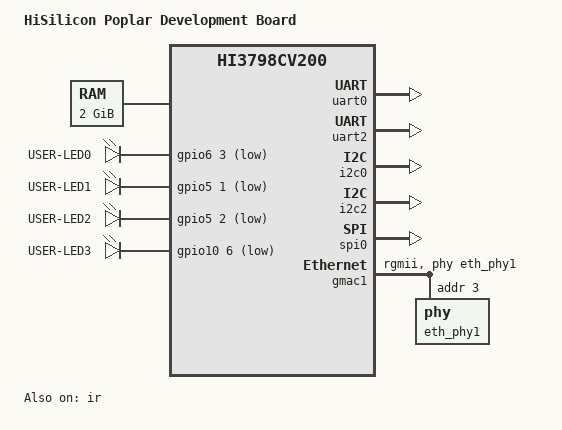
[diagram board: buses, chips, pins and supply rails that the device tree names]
/*
 * DTS File for HiSilicon Poplar Development Board
 *
 * Copyright (c) 2016-2017 HiSilicon Technologies Co., Ltd.
 *
 * This program is free software; you can redistribute it and/or modify
 * it under the terms of the GNU General Public License as published by
 * the Free Software Foundation; either version 2 of the License, or
 * (at your option) any later version.
 *
 * This program is distributed in the hope that it will be useful,
 * but WITHOUT ANY WARRANTY; without even the implied warranty of
 * MERCHANTABILITY or FITNESS FOR A PARTICULAR PURPOSE.  See the
 * GNU General Public License for more details.
 *
 * You should have received a copy of the GNU General Public License
 * along with this program. If not, see <http://www.gnu.org/licenses/>.
 */

/dts-v1/;

#include <dt-bindings/gpio/gpio.h>
#include "hi3798cv200.dtsi"

/ {
	model = "HiSilicon Poplar Development Board";
	compatible = "hisilicon,hi3798cv200-poplar", "hisilicon,hi3798cv200";

	aliases {
		serial0 = &uart0;
	};

	chosen {
		stdout-path = "serial0:115200n8";
	};

	memory@0 {
		device_type = "memory";
		reg = <0x0 0x0 0x0 0x80000000>;
	};

	leds {
		compatible = "gpio-leds";

		user-led0 {
			label = "USER-LED0";
			gpios = <&gpio6 3 GPIO_ACTIVE_LOW>;
			linux,default-trigger = "heartbeat";
			default-state = "off";
		};

		user-led1 {
			label = "USER-LED1";
			gpios = <&gpio5 1 GPIO_ACTIVE_LOW>;
			linux,default-trigger = "mmc0";
			default-state = "off";
		};

		user-led2 {
			label = "USER-LED2";
			gpios = <&gpio5 2 GPIO_ACTIVE_LOW>;
			linux,default-trigger = "none";
			default-state = "off";
		};

		user-led3 {
			label = "USER-LED3";
			gpios = <&gpio10 6 GPIO_ACTIVE_LOW>;
			linux,default-trigger = "cpu0";
			default-state = "off";
		};
	};
};

&uart0 {
	status = "okay";
};

&uart2 {
	status = "okay";
	label = "LS-UART0";
};
/* No optional LS-UART1 on Low Speed Expansion Connector. */

&i2c0 {
	status = "okay";
	label = "LS-I2C0";
};

&i2c2 {
	status = "okay";
	label = "LS-I2C1";
};

&spi0 {
	status = "okay";
	label = "LS-SPI0";
};

&gpio1 {
	status = "okay";
	gpio-line-names = "LS-GPIO-E",	"",
			  "",		"",
			  "",		"LS-GPIO-F",
			  "",		"LS-GPIO-J";
};

&gpio2 {
	status = "okay";
	gpio-line-names = "LS-GPIO-H",	"LS-GPIO-I",
			  "LS-GPIO-L",	"LS-GPIO-G",
			  "LS-GPIO-K",	"",
			  "",		"";
};

&gpio3 {
	status = "okay";
	gpio-line-names = "",		"",
			  "",		"",
			  "LS-GPIO-C",	"",
			  "",		"LS-GPIO-B";
};

&gpio4 {
	status = "okay";
	gpio-line-names = "",		"",
			  "",		"",
			  "",		"LS-GPIO-D",
			  "",		"";
};

&gpio5 {
	status = "okay";
	gpio-line-names = "",		"USER-LED-1",
			  "USER-LED-2",	"",
			  "",		"LS-GPIO-A",
			  "",		"";
};

&gpio6 {
	status = "okay";
	gpio-line-names = "",		"",
			  "",		"USER-LED-0",
			  "",		"",
			  "",		"";
};

&gpio10 {
	status = "okay";
	gpio-line-names = "",		"",
			  "",		"",
			  "",		"",
			  "USER-LED-3",	"";
};

&gmac1 {
	status = "okay";
	#address-cells = <1>;
	#size-cells = <0>;
	phy-handle = <&eth_phy1>;
	phy-mode = "rgmii";
	hisilicon,phy-reset-delays-us = <10000 10000 30000>;

	eth_phy1: phy@3 {
		reg = <3>;
	};
};

&ir {
	status = "okay";
};
